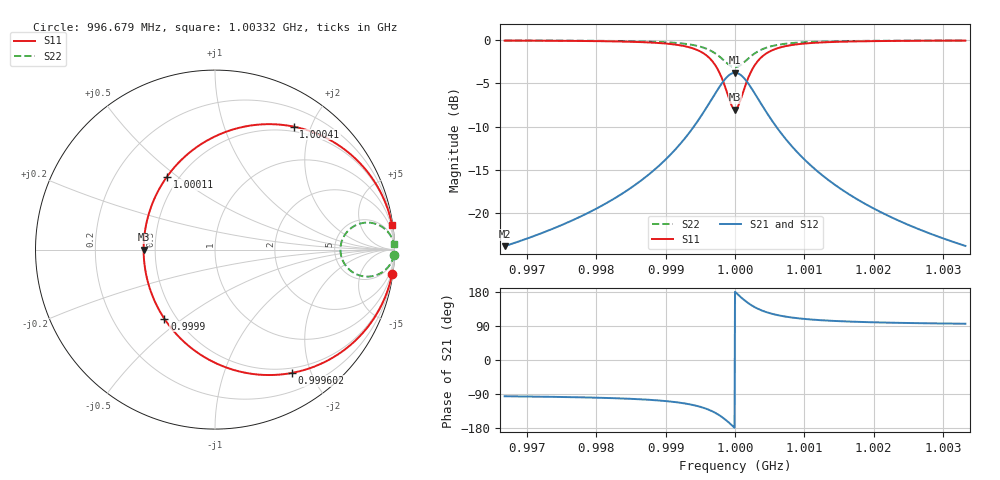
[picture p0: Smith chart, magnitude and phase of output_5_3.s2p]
! File generated for n1 = 5, n2 = 3
! b1 = 4.641589
! b2 = 1.000000
! Q0 = 10000.000000
! f0 = 1000000000.000000
! n = 1001
! rel_span = 10.000000
# Hz S RI R 50
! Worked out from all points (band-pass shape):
!   1001 points, 996.679 MHz to 1.00332 GHz, reference 50 ohm
!   highest |S21| = -3.76 dB at 1 GHz (marker M1); lowest = -23.8 dB at 996.679 MHz (marker M2)
!   |S21| within 3 dB of the highest: 999.6688 MHz to 1.000331 GHz (662.6 kHz wide, 0.0663 % of centre)
!   lowest |S11| = -8.0 dB at 1 GHz (marker M3), VSWR 2.32, Z = 21.5 + j0 ohm
!   |S11| at or under -10 dB: nowhere
!   |S22| runs from -3.1 to 0.0 dB; largest |S21 - S12| = 0
!   S11 on the Smith chart (normalised r, x): 996.679 MHz: 0, -14; 999.602 MHz: 0.43, -1.72; 999.9 MHz: 0.43, -0.43; 1.00011 GHz: 0.43, +0.46; 1.00041 GHz: 0.43, +1.75; 1.00332 GHz: 0, +14
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9.966792e8  0.9862 -0.1382  -0.0064 -0.0641  -0.0064 -0.0641  0.997 -0.0298
9.977884e8  0.9692 -0.205  -0.0143 -0.0952  -0.0143 -0.0952  0.9934 -0.0442
9.984193e8  0.941 -0.281  -0.0274 -0.1304  -0.0274 -0.1304  0.9873 -0.0605
9.988975e8  0.8839 -0.3858  -0.0539 -0.1791  -0.0539 -0.1791  0.975 -0.0831
9.993226e8  0.7294 -0.5523  -0.1256 -0.2564  -0.1256 -0.2564  0.9417 -0.119
9.994753e8  0.6004 -0.6316  -0.1855 -0.2931  -0.1855 -0.2931  0.9139 -0.1361
9.996015e8  0.4273 -0.6874  -0.2658 -0.3191  -0.2658 -0.3191  0.8766 -0.1481
9.997675e8  0.062 -0.6567  -0.4354 -0.3048  -0.4354 -0.3048  0.7979 -0.1415
9.99834e8  -0.1182 -0.5591  -0.519 -0.2595  -0.519 -0.2595  0.7591 -0.1205
9.999004e8  -0.2823 -0.3847  -0.5952 -0.1786  -0.5952 -0.1786  0.7237 -0.0829
1e9  -0.3977 0  -0.6488 0  -0.6488 0  0.6989 0
1.000053e9  -0.3628 0.218  -0.6326 0.1012  -0.6326 0.1012  0.7064 0.047
1.000106e9  -0.2679 0.4057  -0.5885 0.1883  -0.5885 0.1883  0.7268 0.0874
1.000166e9  -0.1182 0.5591  -0.519 0.2595  -0.519 0.2595  0.7591 0.1204
1.000232e9  0.0619 0.6566  -0.4354 0.3048  -0.4354 0.3048  0.7979 0.1415
1.000306e9  0.2429 0.6964  -0.3514 0.3233  -0.3514 0.3233  0.8369 0.15
1.000405e9  0.4382 0.6853  -0.2608 0.3181  -0.2608 0.3181  0.879 0.1476
1.000531e9  0.6072 0.6283  -0.1823 0.2916  -0.1823 0.2916  0.9154 0.1354
1.000684e9  0.7333 0.5492  -0.1238 0.2549  -0.1238 0.2549  0.9425 0.1183
1.001109e9  0.8849 0.3842  -0.0534 0.1783  -0.0534 0.1783  0.9752 0.0828
1.002218e9  0.9693 0.2049  -0.0143 0.0951  -0.0143 0.0951  0.9934 0.0441
1.003321e9  0.9861 0.1386  -0.00644 0.0643  -0.00644 0.0643  0.997 0.0299
